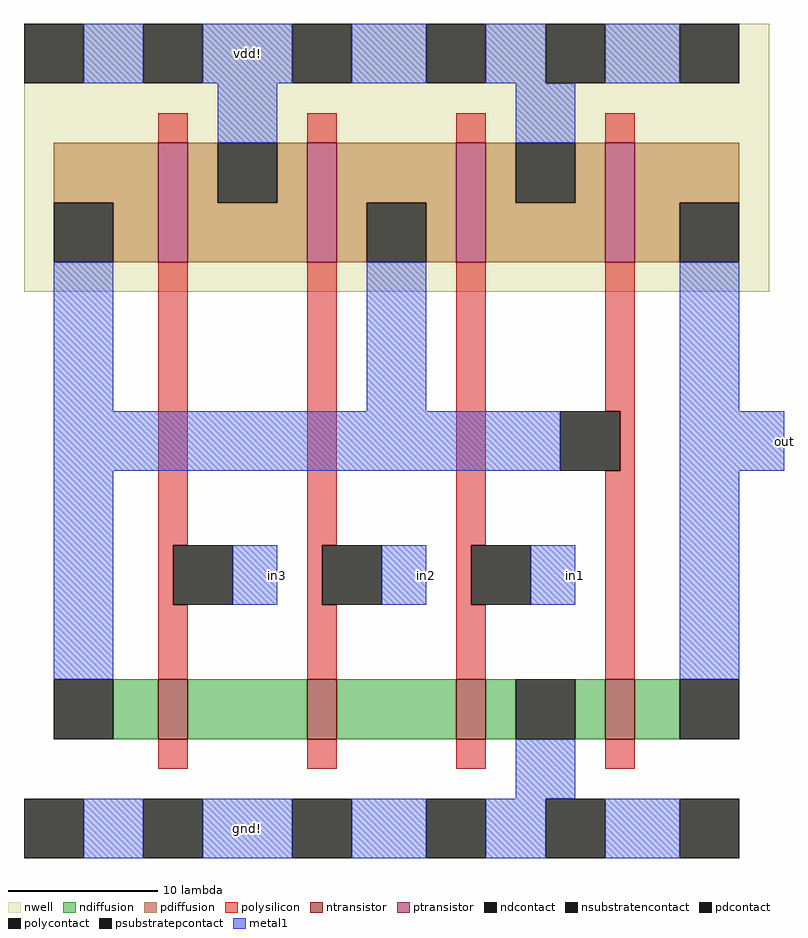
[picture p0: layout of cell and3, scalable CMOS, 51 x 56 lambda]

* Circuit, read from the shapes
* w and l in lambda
.subckt and3 gnd! in1 in2 in3 out vdd!
M1 n1 in3 n2 gnd! nfet w=4 l=2
M2 n3 in2 n1 gnd! nfet w=4 l=2
M3 gnd! in1 n3 gnd! nfet w=4 l=2
M4 out n2 gnd! gnd! nfet w=4 l=2
M5 vdd! in3 n2 vdd! pfet w=8 l=2
M6 n2 in2 vdd! vdd! pfet w=8 l=2
M7 vdd! in1 n2 vdd! pfet w=8 l=2
M8 out n2 vdd! vdd! pfet w=8 l=2
.ends

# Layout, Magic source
magic
tech scmos
<< nwell >>
rect -3 1 47 19
<< polysilicon >>
rect 6 11 8 13
rect 16 11 18 13
rect 26 11 28 13
rect 36 11 38 13
rect 6 -16 8 3
rect 16 -16 18 3
rect 26 -16 28 3
rect 36 -7 38 3
rect 37 -11 38 -7
rect 6 -20 7 -16
rect 16 -20 17 -16
rect 26 -20 27 -16
rect 6 -25 8 -20
rect 16 -25 18 -20
rect 26 -25 28 -20
rect 36 -25 38 -11
rect 6 -31 8 -29
rect 16 -31 18 -29
rect 26 -31 28 -29
rect 36 -31 38 -29
<< ndiffusion >>
rect 3 -29 6 -25
rect 8 -29 16 -25
rect 18 -29 26 -25
rect 28 -29 30 -25
rect 34 -29 36 -25
rect 38 -29 41 -25
<< pdiffusion >>
rect -1 7 6 11
rect 3 3 6 7
rect 8 7 10 11
rect 14 7 16 11
rect 8 3 16 7
rect 18 7 26 11
rect 18 3 20 7
rect 24 3 26 7
rect 28 7 30 11
rect 34 7 36 11
rect 28 3 36 7
rect 38 7 45 11
rect 38 3 41 7
<< metal1 >>
rect 1 15 5 19
rect 9 15 15 19
rect 19 15 24 19
rect 28 15 32 19
rect 36 15 41 19
rect 10 11 14 15
rect 30 11 34 15
rect -1 -7 3 3
rect 20 -7 24 3
rect 41 -7 45 3
rect -1 -11 33 -7
rect 41 -11 48 -7
rect -1 -25 3 -11
rect 11 -20 14 -16
rect 21 -20 24 -16
rect 31 -20 34 -16
rect 41 -25 45 -11
rect 30 -33 34 -29
rect 1 -37 5 -33
rect 9 -37 15 -33
rect 19 -37 24 -33
rect 28 -37 32 -33
rect 36 -37 41 -33
<< ntransistor >>
rect 6 -29 8 -25
rect 16 -29 18 -25
rect 26 -29 28 -25
rect 36 -29 38 -25
<< ptransistor >>
rect 6 3 8 11
rect 16 3 18 11
rect 26 3 28 11
rect 36 3 38 11
<< polycontact >>
rect 33 -11 37 -7
rect 7 -20 11 -16
rect 17 -20 21 -16
rect 27 -20 31 -16
<< ndcontact >>
rect -1 -29 3 -25
rect 30 -29 34 -25
rect 41 -29 45 -25
<< pdcontact >>
rect -1 3 3 7
rect 10 7 14 11
rect 20 3 24 7
rect 30 7 34 11
rect 41 3 45 7
<< psubstratepcontact >>
rect -3 -37 1 -33
rect 5 -37 9 -33
rect 15 -37 19 -33
rect 24 -37 28 -33
rect 32 -37 36 -33
rect 41 -37 45 -33
<< nsubstratencontact >>
rect -3 15 1 19
rect 5 15 9 19
rect 15 15 19 19
rect 24 15 28 19
rect 32 15 36 19
rect 41 15 45 19
<< labels >>
rlabel metal1 14 -20 14 -16 1 in3
rlabel metal1 24 -20 24 -16 1 in2
rlabel metal1 34 -20 34 -16 7 in1
rlabel metal1 12 -35 12 -35 1 gnd!
rlabel metal1 12 17 12 17 5 vdd!
rlabel metal1 48 -11 48 -7 7 out
<< end >>
